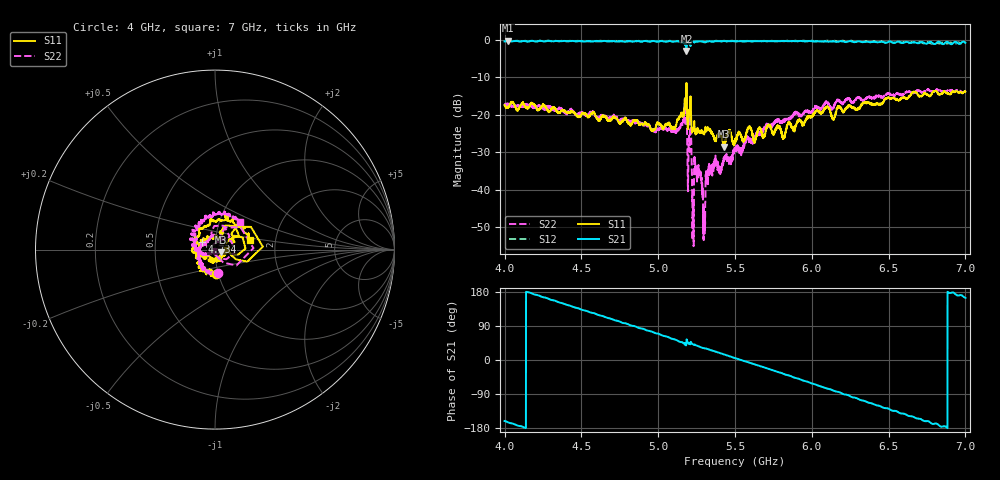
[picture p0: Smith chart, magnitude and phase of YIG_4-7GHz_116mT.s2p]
#  HZ  S  RI  R  50.0
! Rohde & Schwarz ZVL13 2Ports - Version 3.31 - 1303.6509k13 SN: 101088
! Date: 2023-03-06 15:03:56
! Data & Calibration Information:
! Trc4:S11(TOSM) Trc2:S21(TOSM) Trc3:S12(TOSM) Trc5:S22(TOSM)
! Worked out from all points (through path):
!   4000 points, 4 GHz to 7 GHz, reference 50 ohm
!   highest |S21| = -0.19 dB at 4.02 GHz (marker M1); lowest = -3.0 dB at 5.184 GHz (marker M2)
!   group delay of S21, straight-line fit = 364 ps
!   lowest |S11| = -28.5 dB at 5.428 GHz (marker M3), VSWR 1.08, Z = 53.5 - j1.63 ohm
!   |S11| at or under -10 dB: start of sweep to end of sweep
!   |S22| runs from -55.1 to -13.2 dB; largest |S21 - S12| = 0.076
!   S11 on the Smith chart (normalised r, x): 4 GHz: 0.97, -0.27; 4.734 GHz: 0.86, +0.08; 7 GHz: 1.48, +0.17
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4e9  0.00409 -0.1352  -0.9066 -0.3137  -0.9121 -0.2916  0.0167 -0.1296
4.019505e9  -0.0186 -0.1238  -0.9396 -0.2729  -0.9316 -0.2759  0.013 -0.1396
4.276819e9  -0.0731 -0.0915  -0.9287 0.2808  -0.931 0.2914  -0.068 -0.1055
4.500375e9  -0.1007 -0.00805  -0.6585 0.7087  -0.6536 0.6961  -0.0823 -0.0632
4.733683e9  -0.0744 0.0445  -0.2235 0.9262  -0.2055 0.9434  -0.0897 -0.00593
5e9  -0.00215 0.0773  0.3383 0.893  0.3422 0.8792  -0.0507 0.0389
5.101275e9  0.0204 0.0622  0.5432 0.7772  0.5435 0.7699  -0.0428 0.0436
5.171793e9  0.0572 0.1344  0.6921 0.6023  0.6777 0.5987  -0.00404 0.1315
5.183796e9  0.2664 0.0162  0.4534 0.5477  0.4981 0.5542  0.2142 0.00847
5.231808e9  0.0642 0.0177  0.7236 0.6037  0.7356 0.5998  0.00337 0.00299
5.248312e9  0.0568 -0.00387  0.7497 0.5935  0.7379 0.5803  -0.0152 -0.00958
5.268567e9  0.0574 0.00649  0.7852 0.5522  0.7876 0.5674  -0.0169 -0.00127
5.293323e9  0.0567 0.012  0.8063 0.4922  0.8065 0.4785  -0.00258 0.000144
5.324081e9  0.0632 -0.0215  0.838 0.4591  0.849 0.4667  -0.00522 -0.0178
5.427607e9  0.0342 -0.0152  0.9338 0.2486  0.9436 0.2499  -0.0247 -0.0096
5.500375e9  0.0294 -0.037  0.9611 0.083  0.9499 0.0776  -0.0255 -0.019
5.736684e9  -0.00276 -0.0639  0.8687 -0.4181  0.8795 -0.4191  -0.0687 -0.0227
6e9  -0.0926 -0.0111  0.4512 -0.8469  0.4631 -0.8678  -0.1095 0.0208
6.253563e9  -0.1077 0.069  -0.1079 -0.9553  -0.1101 -0.977  -0.1134 0.1005
6.500375e9  -0.021 0.168  -0.5899 -0.7401  -0.607 -0.7404  -0.0515 0.1855
6.773443e9  0.1167 0.1362  -0.9151 -0.2347  -0.8752 -0.1983  0.0529 0.199
7e9  0.1962 0.0542  -0.8809 0.2546  -0.9011 0.2269  0.1396 0.1493
